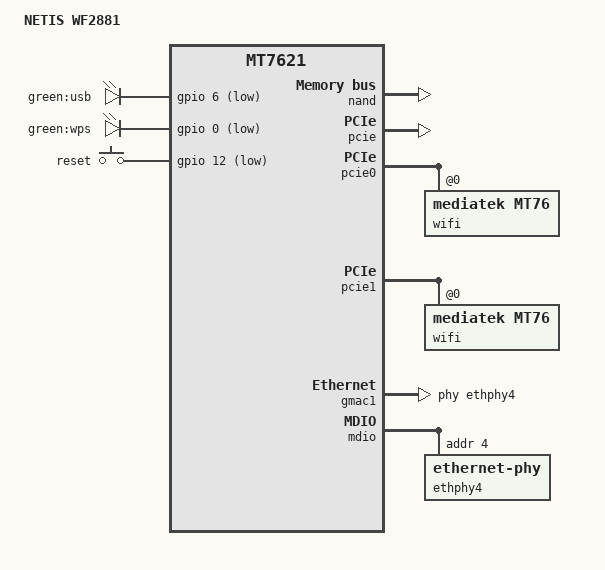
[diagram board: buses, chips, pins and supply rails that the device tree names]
#include "mt7621.dtsi"

#include <dt-bindings/gpio/gpio.h>
#include <dt-bindings/input/input.h>

/ {
	compatible = "netis,wf2881", "mediatek,mt7621-soc";
	model = "NETIS WF2881";

	aliases {
		led-boot = &led_wps;
		led-failsafe = &led_wps;
		led-running = &led_wps;
		led-upgrade = &led_wps;
		label-mac-device = &gmac0;
	};

	leds {
		compatible = "gpio-leds";

		usb {
			label = "green:usb";
			gpios = <&gpio 6 GPIO_ACTIVE_LOW>;
			trigger-sources = <&xhci_ehci_port1>, <&ehci_port2>;
			linux,default-trigger = "usbport";
		};

		led_wps: wps {
			label = "green:wps";
			gpios = <&gpio 0 GPIO_ACTIVE_LOW>;
		};
	};

	keys {
		compatible = "gpio-keys";

		reset {
			label = "reset";
			gpios = <&gpio 12 GPIO_ACTIVE_LOW>;
			linux,code = <KEY_RESTART>;
		};
	};
};

&nand {
	status = "okay";

	partitions {
		compatible = "fixed-partitions";
		#address-cells = <1>;
		#size-cells = <1>;

		partition@0 {
			label = "u-boot";
			reg = <0x0 0x80000>;
			read-only;
		};

		partition@80000 {
			label = "config";
			reg = <0x80000 0x80000>;
			read-only;
		};

		factory: partition@100000 {
			label = "factory";
			reg = <0x100000 0x40000>;
			read-only;
		};

		partition@140000 {
			label = "firmware";
			reg = <0x140000 0x7e40000>;

			compatible = "fixed-partitions";
			#address-cells = <1>;
			#size-cells = <1>;

			partition@0 {
				label = "kernel";
				reg = <0x0 0x400000>;
			};

			partition@400000 {
				label = "ubi";
				reg = <0x400000 0x7a40000>;
			};
		};
	};
};

&pcie {
	status = "okay";
};

&pcie0 {
	wifi@0,0 {
		compatible = "mediatek,mt76";
		reg = <0x0000 0 0 0 0>;
		mediatek,mtd-eeprom = <&factory 0x8000>;
		ieee80211-freq-limit = <5000000 6000000>;

		led {
			led-sources = <2>;
			led-active-low;
		};
	};
};

&pcie1 {
	wifi@0,0 {
		compatible = "mediatek,mt76";
		reg = <0x0000 0 0 0 0>;
		mediatek,mtd-eeprom = <&factory 0x0000>;
		ieee80211-freq-limit = <2400000 2500000>;

		led {
			led-sources = <2>;
			led-active-low;
		};
	};
};

&gmac0 {
	nvmem-cells = <&macaddr_factory_e000>;
	nvmem-cell-names = "mac-address";
};

&gmac1 {
	status = "okay";
	label = "wan";
	phy-handle = <&ethphy4>;

	nvmem-cells = <&macaddr_factory_e006>;
	nvmem-cell-names = "mac-address";
};

&mdio {
	ethphy4: ethernet-phy@4 {
		reg = <4>;
	};
};

&switch0 {
	ports {
		port@0 {
			status = "okay";
			label = "lan4";
		};

		port@1 {
			status = "okay";
			label = "lan3";
		};

		port@2 {
			status = "okay";
			label = "lan2";
		};

		port@3 {
			status = "okay";
			label = "lan1";
		};
	};
};

&state_default {
	gpio {
		groups = "uart3", "uart2";
		function = "gpio";
	};
};

&factory {
	compatible = "nvmem-cells";
	#address-cells = <1>;
	#size-cells = <1>;

	macaddr_factory_e000: macaddr@e000 {
		reg = <0xe000 0x6>;
	};

	macaddr_factory_e006: macaddr@e006 {
		reg = <0xe006 0x6>;
	};
};
